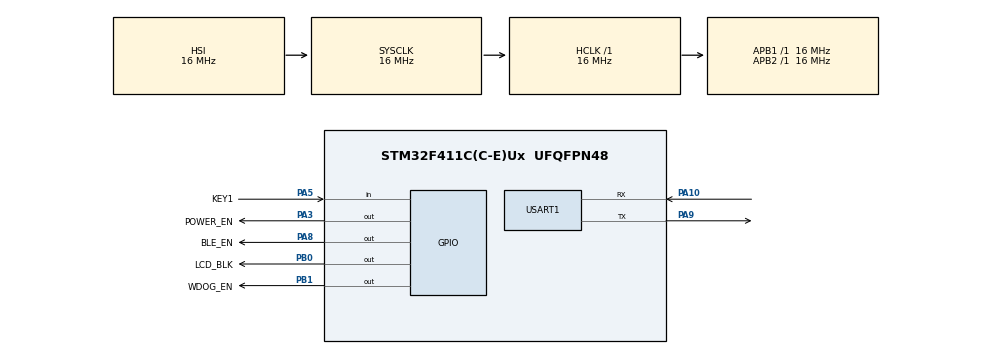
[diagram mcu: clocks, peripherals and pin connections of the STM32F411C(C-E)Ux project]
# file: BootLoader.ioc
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Mcu.Family=STM32F4
Mcu.Name=STM32F411C(C-E)Ux
Mcu.Package=UFQFPN48
NVIC.PriorityGroup=NVIC_PRIORITYGROUP_4
PA10.Mode=Asynchronous
PA10.Signal=USART1_RX
PA13.Mode=Serial_Wire
PA13.Signal=SYS_JTMS-SWDIO
PA14.Mode=Serial_Wire
PA14.Signal=SYS_JTCK-SWCLK
PA3.GPIO_Label=POWER_EN
PA3.PinState=GPIO_PIN_SET
PA3.Signal=GPIO_Output
PA5.GPIO_Label=KEY1
PA5.GPIO_PuPd=GPIO_PULLUP
PA5.Signal=GPIO_Input
PA8.GPIO_Label=BLE_EN
PA8.Signal=GPIO_Output
PA9.Mode=Asynchronous
PA9.Signal=USART1_TX
PB0.GPIO_Label=LCD_BLK
PB0.Signal=GPIO_Output
PB1.GPIO_Label=WDOG_EN
PB1.GPIO_PuPd=GPIO_PULLUP
PB1.PinState=GPIO_PIN_SET
PB1.Signal=GPIO_Output
ProjectManager.HeapSize=0x200
ProjectManager.StackSize=0x400
ProjectManager.TargetToolchain=MDK-ARM V5.32
RCC.AHBFreq_Value=16000000
RCC.APB1Freq_Value=16000000
RCC.APB2Freq_Value=16000000
RCC.CortexFreq_Value=16000000
RCC.HSE_VALUE=25000000
RCC.HSI_VALUE=16000000
RCC.LSE_VALUE=32768
RCC.SYSCLKFreq_VALUE=16000000
RCC.VCOOutputFreq_Value=192000000
USART1.VirtualMode=VM_ASYNC
board=custom

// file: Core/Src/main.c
/* USER CODE BEGIN Header */
/**
  ******************************************************************************
  * @file           : main.c
  * @brief          : LFC-WATCH Bootloader与YMODEM固件接收入口
  *
  * Flash布局：Bootloader占扇区0~1，固件有效记录占扇区2，APP占扇区3~7。
  * 启动时消费RTC备份域的升级请求，并检查有效记录；无留驻请求且记录有效
  * 才尝试进入APP，否则留在裸机主循环，通过USART1接收YMODEM固件。
  * 升级顺序：旧记录失效 -> 擦除APP -> 分包写入 -> 整文件读回CRC ->
  * 最后提交记录magic。最终ACK发送成功且串口安静10秒后尝试进入APP。
  * 本程序不启动FreeRTOS或LCD界面，低占空比背光闪烁用于提示留驻状态。
  ******************************************************************************
  * @attention
  *
  * Copyright (c) 2026 STMicroelectronics.
  * All rights reserved.
  *
  * This software is licensed under terms that can be found in the LICENSE file
  * in the root directory of this software component.
  * If no LICENSE file comes with this software, it is provided AS-IS.
  *
  ******************************************************************************
  */
/* USER CODE END Header */
#include "main.h"
#include "usart.h"
#include "gpio.h"

/* USER CODE BEGIN PTD */

/* 保存在预留Flash中的固件有效记录，共5个32位字段。 */
typedef struct
{
  uint32_t magic; // 最后写入的完成标记，擦除态为0xFFFFFFFF
  uint32_t file_size; // 有效文件字节数，不含YMODEM包头和填充
  uint32_t file_crc; // 文件正文CRC16，保存在32位字段的低16位
  uint32_t file_size_inv; // file_size按位取反，用于检查记录一致性
  uint32_t file_crc_inv; // 整个32位file_crc字段的按位取反值
} BootAppRecord_t;

/* USER CODE END PTD */

/* USER CODE BEGIN PD */

#define BOOT_BACKLIGHT_DIM 5U // 周期1000个计数，5对应0.5%占空比

/* Flash分区、固件提交标记与一次性升级请求。 */
#define APP_BASE_ADDR     0x0800C000U // APP向量表和文件正文起点
#define APP_RECORD_ADDR   0x08008000U // 扇区2中的固件有效记录
#define APP_RECORD_MAGIC  0x41505031U // Flash记录提交标记，不是升级请求
#define BOOT_REQUEST_MAGIC 0x4F544131U // RTC->BKP1R中的一次性APP升级请求
#define APP_FLASH_END     0x08080000U // APP分区末端的下一地址，不可写入

/* SRAM_END允许作为向下增长栈的初始栈顶，不是可读写数据地址。 */
#define SRAM_START        0x20000000U
#define SRAM_END          0x20020000U

/* USER CODE END PD */

/* USER CODE BEGIN PV */

/* 启动策略、主循环与串口诊断。裸机主循环负责以下接收状态。 */
static TIM_HandleTypeDef boot_backlight_tim; // 留驻后才初始化的TIM3背光PWM句柄

volatile uint32_t boot_loop_count = 0U; // 主循环运行计数
volatile uint8_t boot_stay_requested = 0U; // 本次启动是否要求留在BootLoader
volatile HAL_StatusTypeDef boot_uart_tx_status = HAL_OK; // 最近一次串口发送结果

uint8_t boot_rx_byte = 0U; // 当前接收到的字节
volatile uint32_t boot_rx_count = 0U; // 主循环收到的首字节/控制字节等数量，不含独立调用收到的包体
volatile HAL_StatusTypeDef boot_uart_rx_status = HAL_OK; // 最近一次串口接收结果

uint32_t boot_blink_tick = 0U; // 最近一次切换背光的时刻
uint32_t boot_status_tick = 0U; // 最近一次周期请求C的时刻

/* 整包缓存、校验与包号诊断；累计计数在取消会话时保留。 */
static uint8_t boot_packet_buffer[1029]; // 容纳最大的 1024 字节数据包及包头、CRC

volatile uint32_t boot_packet_length = 0U; // 当前完整包长：133或1029字节
volatile uint32_t boot_packet_ok_count = 0U; // 新文件信息包和新数据包的接受次数
volatile uint32_t boot_packet_bad_count = 0U; // 整包格式或CRC检查失败次数
volatile uint32_t boot_packet_incomplete_count = 0U; // 包体未完整收到的次数
volatile HAL_StatusTypeDef boot_packet_rx_status = HAL_OK; // 最近一次阻塞接收包体的结果

volatile uint8_t boot_expected_packet = 0U; // 当前期待的新包号
volatile uint8_t boot_has_last_packet = 0U; // 是否已经接受过一包
volatile uint32_t boot_packet_duplicate_count = 0U; // 上一包的重传次数
volatile uint32_t boot_packet_sequence_error_count = 0U; // 非预期包号次数

/* 本轮文件信息与有效正文进度，Boot_ResetReception()负责清空。 */
volatile uint8_t boot_file_info_received = 0U; // 是否已接受真实文件信息包
volatile uint8_t boot_data_started = 0U; // 是否已接受至少一个文件数据包
volatile uint32_t boot_file_info_error_count = 0U; // 文件信息解析失败次数

static char boot_file_name[64]; // 最多保存 63 个文件名字符，最后留给结束符
volatile uint32_t boot_file_size = 0U; // 解析出的文件长度，单位：字节
volatile uint8_t boot_file_info_result = 0U; // 1：解析成功，0：拒绝

volatile uint32_t boot_file_received_size = 0U; // 已接受的有效文件字节数
volatile uint32_t boot_last_data_size = 0U; // 最近一个新数据包的有效字节数
volatile uint16_t boot_file_crc = 0U; // 已接受的有效文件正文累计CRC，不含尾包填充

/* Flash结果与诊断；会话取消不清除这些历史结果。 */
volatile uint32_t boot_flash_sector_error = 0xFFFFFFFFU; // 擦除失败的扇区号
volatile HAL_StatusTypeDef boot_flash_status = HAL_OK; // 最近一次Flash操作结果
volatile uint32_t boot_flash_error_count = 0U; // 累计Flash操作或整文件读回失败次数
volatile uint16_t boot_flash_read_crc = 0U; // 从Flash读回整份文件后计算的CRC
volatile uint8_t boot_app_record_valid = 0U; // 记录和APP正文检查是否通过
volatile uint32_t boot_flash_write_with_error_addr = 0xFFFFFFFFU; // 编程或读回检查失败的地址
volatile uint32_t boot_packet_extra_count = 0U; // 文件收齐后仍发送新数据包的次数

/* 结束握手与自动交接；文件收齐不等于已经提交有效记录。 */
volatile uint8_t boot_eot_seen = 0U; // 收齐文件后，是否已收到第一次 EOT
volatile uint8_t boot_wait_end_packet = 0U; // EOT 握手完成，等待最终空文件名包

volatile uint8_t boot_transfer_complete = 0U; // 正文校验及有效记录提交通过，入口合理性仍由跳转函数检查
volatile uint8_t boot_auto_jump_pending = 0U; // 最终ACK已发出，等待自动进入APP

/* 包外取消序列与会话活动时间。 */
static uint8_t boot_can_pending = 0U; // 上一个包外字节是否为CAN
volatile uint32_t boot_cancel_count = 0U; // 累计取消次数

static uint32_t boot_last_activity_tick = 0U; // 最近一次串口活动的时间戳
volatile uint32_t boot_session_timeout_count = 0U; // 累计接收超时次数

/* USER CODE END PV */

void SystemClock_Config(void);
/* USER CODE BEGIN PFP */

/* 清空本轮协议状态，保留Flash内容与累计诊断计数。 */
static void Boot_ResetReception(void);
/* Flash链路失败时发出CAN CAN，并回到等待文件信息的状态。 */
static void Boot_AbortFlashTransfer(void);

/* USER CODE END PFP */

/* USER CODE BEGIN 0 */

/*
 * PB0切换为TIM3_CH3，由硬件输出背光PWM。
 * 当前Bootloader定时器时钟为16MHz，分频后1MHz，PWM频率1kHz。
 * 初始占空比为0，后续由主循环切换暗光和熄灭。
 */
static void Boot_BacklightInit(void)
{
  TIM_OC_InitTypeDef channel = {0};
  GPIO_InitTypeDef gpio = {0};

  __HAL_RCC_GPIOB_CLK_ENABLE();
  __HAL_RCC_TIM3_CLK_ENABLE();

  /* 清除定时器旧状态，确保从已知配置开始 */
  __HAL_RCC_TIM3_FORCE_RESET();
  __HAL_RCC_TIM3_RELEASE_RESET();

  boot_backlight_tim.Instance = TIM3;
  boot_backlight_tim.Init.Prescaler = 15U; // 16MHz/16=1MHz
  boot_backlight_tim.Init.CounterMode = TIM_COUNTERMODE_UP;
  boot_backlight_tim.Init.Period = 999U; // 1MHz/1000=1kHz
  boot_backlight_tim.Init.ClockDivision = TIM_CLOCKDIVISION_DIV1;
  boot_backlight_tim.Init.AutoReloadPreload = TIM_AUTORELOAD_PRELOAD_DISABLE;

  if(HAL_TIM_PWM_Init(&boot_backlight_tim) != HAL_OK)
  {
    Error_Handler();
  }

  channel.OCMode = TIM_OCMODE_PWM1;
  channel.Pulse = 0U; // 初始占空比0
  channel.OCPolarity = TIM_OCPOLARITY_HIGH;
  channel.OCFastMode = TIM_OCFAST_DISABLE;

  if(HAL_TIM_PWM_ConfigChannel(&boot_backlight_tim, &channel, TIM_CHANNEL_3) != HAL_OK)
  {
    Error_Handler();
  }

  gpio.Pin = LCD_BLK_Pin;
  gpio.Mode = GPIO_MODE_AF_PP;
  gpio.Pull = GPIO_NOPULL;
  gpio.Speed = GPIO_SPEED_FREQ_LOW;
  gpio.Alternate = GPIO_AF2_TIM3;
  HAL_GPIO_Init(LCD_BLK_GPIO_Port, &gpio);

  if(HAL_TIM_PWM_Start(&boot_backlight_tim, TIM_CHANNEL_3) != HAL_OK)
  {
    Error_Handler();
  }
}

/*
 * 将 RAM 中的一段有效正文写入 APP 区，目标区域必须已擦除。
 * 采用逐字节编程，能够直接处理最后一包不足4字节的情况。
 * 每写一个字节就读回检查；中途失败可能已经写入部分数据。
 * 本函数不擦除Flash，不修改接收计数，也不发送ACK。
 */
static HAL_StatusTypeDef Boot_FlashWrite(uint32_t address, const uint8_t *data, uint32_t length)
{
  HAL_StatusTypeDef status;
  HAL_StatusTypeDef lock_status;
  uint32_t i;

  boot_flash_write_with_error_addr = 0xFFFFFFFFU;

  if(data == NULL || length == 0U)
  {
    return HAL_ERROR; // 数据指针为空或长度为0
  }

  /* 先确认起始地址合法，再用剩余容量检查长度。 */
  if((address < APP_BASE_ADDR) || (address >= APP_FLASH_END))
  {
    return HAL_ERROR; // 起始地址不在APP区
  }

  if(length > (APP_FLASH_END - address))
  {
    return HAL_ERROR; // 长度超出APP区剩余容量
  }

  status = HAL_FLASH_Unlock();
  if(status != HAL_OK)
  {
    return status;
  }

  for(i = 0U; i < length; i++)
  {
    status = HAL_FLASH_Program(FLASH_TYPEPROGRAM_BYTE, address + i, data[i]);
    if(status != HAL_OK)
    {
      boot_flash_write_with_error_addr = address + i;
      break;
    }
    /* 从目标地址读回，检查实际保存的字节。 */
    if(*(volatile const uint8_t *)(address + i ) != data[i])
    {
      boot_flash_write_with_error_addr = address + i;
      status = HAL_ERROR;
      break;
    }
  }

  /* 失败时也经过这里，重新锁定Flash。 */
  lock_status = HAL_FLASH_Lock();

  if(status != HAL_OK)
  {
    return status;
  }

  return lock_status;

}

/*
 * 擦除整个 APP 区：扇区3～7，保留 Bootloader 和扇区2。
 * 调用后旧 APP 会被删除；只应在正式启动升级时执行一次。
 * VoltageRange 按 MCU 的3.3V供电选择，不是按电池电压选择。
 */
static HAL_StatusTypeDef Boot_FlashEraseApp(void)
{
  FLASH_EraseInitTypeDef erase = {0};
  HAL_StatusTypeDef status;
  HAL_StatusTypeDef lock_status;
  uint32_t sector_error = 0xFFFFFFFFU;

  boot_flash_sector_error = 0xFFFFFFFFU;

  status = HAL_FLASH_Unlock();
  if(status != HAL_OK)
  {
    return status;
  }

  erase.TypeErase = FLASH_TYPEERASE_SECTORS;
  erase.Sector = FLASH_SECTOR_3;
  erase.NbSectors = 5U; // 扇区3～7
  erase.VoltageRange = FLASH_VOLTAGE_RANGE_3;

  status = HAL_FLASHEx_Erase(&erase, &sector_error);
  boot_flash_sector_error = sector_error;

  /* 擦除成功或失败，都重新锁定Flash控制寄存器 */
  lock_status = HAL_FLASH_Lock();

  if(status != HAL_OK)
  {
    return status;
  }

  return lock_status;
}

/*
 * 升级开始前，先擦除存放有效记录的扇区2。
 * 只有记录擦除成功，调用方才允许继续擦除APP。
 */
static HAL_StatusTypeDef Boot_EraseAppRecord(void)
{
  FLASH_EraseInitTypeDef erase = {0};
  HAL_StatusTypeDef status;
  HAL_StatusTypeDef lock_status;
  uint32_t sector_error = 0xFFFFFFFFU;
  uint32_t i;

  boot_app_record_valid = 0U;
  boot_flash_sector_error = 0xFFFFFFFFU;

  status = HAL_FLASH_Unlock();
  if(status != HAL_OK)
  {
    return status;
  }

  erase.TypeErase = FLASH_TYPEERASE_SECTORS;
  erase.Sector = FLASH_SECTOR_2;
  erase.NbSectors = 1U; // 扇区2
  erase.VoltageRange = FLASH_VOLTAGE_RANGE_3;

  status = HAL_FLASHEx_Erase(&erase, &sector_error);
  boot_flash_sector_error = sector_error;

  if(status == HAL_OK)
  {
    /* 检查记录占用的20字节确实恢复成空白 */
    for(i = 0U; i < 5U; i++)
    {
      if(*(volatile const uint32_t *)(APP_RECORD_ADDR + i * 4U) != 0xFFFFFFFFU)
      {
        boot_flash_sector_error = FLASH_SECTOR_2;
        status = HAL_ERROR; // 记录擦除后读回仍非全1
        break;
      }
    }
  }

  lock_status = HAL_FLASH_Lock();

  if(status != HAL_OK)
  {
    return status;
  }

  return lock_status;
}

/*
 * 调用前必须已擦除记录，并完成APP正文写入和校验。
 * 先写4个信息字段，再最后写magic，作为本次提交的完成标记。
 * 不使用Boot_FlashWrite，因为该函数只允许写APP正文区。
 * 返回HAL_OK才表示本次提交和重新上锁均成功；失败由调用方取消会话。
 */
static HAL_StatusTypeDef Boot_WriteAppRecord(uint32_t file_size, uint16_t file_crc)
{
  HAL_StatusTypeDef status;
  HAL_StatusTypeDef lock_status;

  /* magic单独提交，这里只暂存其后的四个记录字段。 */
  uint32_t fields[4];
  uint32_t address;
  uint32_t i;

  boot_flash_write_with_error_addr = 0xFFFFFFFFU;

  if((file_size < 8U) || (file_size > (APP_FLASH_END - APP_BASE_ADDR)))
  {
    return HAL_ERROR; // 文件长度不合理
  }

  /* 必须在空白上提交，不能覆盖已有的记录 */
  for(i = 0U; i < 5U; i++)
  {
    address = APP_RECORD_ADDR + i * 4U;
    if(*(volatile const uint32_t *)address != 0xFFFFFFFFU)
    {
      boot_flash_write_with_error_addr = address;
      return HAL_ERROR; // 记录区域非空
    }
  }

  fields[0] = file_size;
  fields[1] = (uint32_t)file_crc;
  fields[2] = ~file_size;
  fields[3] = ~((uint32_t)file_crc);

  status = HAL_FLASH_Unlock();
  if(status != HAL_OK)
  {
    return status;
  }

  /* 跳过偏移0处的magic，先写偏移4~16处的信息字段 */
  for(i = 0U; i < 4U; i++)
  {
    address = APP_RECORD_ADDR + 4U + i * 4U;
    status = HAL_FLASH_Program(FLASH_TYPEPROGRAM_WORD, address, fields[i]);

    if(status != HAL_OK)
    {
      boot_flash_write_with_error_addr = address;
      break;
    }

    if(*(volatile const uint32_t *)address != fields[i])
    {
      boot_flash_write_with_error_addr = address;
      status = HAL_ERROR;
      break;
    }
  }

  /*
   * 信息字段全部写好并读回正确后才提交magic。上面的break只离开for；
   * status失败时跳过提交，但仍执行后面的HAL_FLASH_Lock统一收尾。
   */
  if(status == HAL_OK)
  {
    status = HAL_FLASH_Program(FLASH_TYPEPROGRAM_WORD, APP_RECORD_ADDR, APP_RECORD_MAGIC);

    if(status != HAL_OK)
    {
      boot_flash_write_with_error_addr = APP_RECORD_ADDR;
    }
    else if(*(volatile const uint32_t *)APP_RECORD_ADDR != APP_RECORD_MAGIC)
    {
      boot_flash_write_with_error_addr = APP_RECORD_ADDR;
      status = HAL_ERROR;
    }
  }

  lock_status = HAL_FLASH_Lock();

  if(status != HAL_OK)
  {
    return status;
  }

  return lock_status;

}

/*
 * 从传入的 crc 状态继续处理这一段数据。
 * 第一次传 0，后续传入上一次返回的结果，即可分段计算整份文件。
 */
static uint16_t Boot_CRC16Update(uint16_t crc, const uint8_t *data, uint32_t length)
{
  uint32_t i;
  uint8_t bit;

  for(i = 0U; i < length; i++)
  {
    crc ^= (uint16_t)((uint16_t)data[i] << 8);

    for(bit = 0U; bit < 8U; bit++)
    {
      if((crc & 0x8000U) != 0U)
      {
        crc = (uint16_t)((crc << 1) ^ 0x1021U);
      }
      else
      {
        crc = (uint16_t)(crc << 1);
      }
    }
  }

  return crc;
}

/* CRC16/XMODEM初值为0；单包计算覆盖完整数据区，包括尾包填充。 */
static uint16_t Boot_CRC16(const uint8_t *data, uint32_t length)
{
  return Boot_CRC16Update(0U, data, length);
}

/*
 * 检查Flash中的固件记录，再检查记录所描述的APP正文。
 * 本函数只读Flash，不擦除、不写入，也不执行跳转。
 * 先检查长度边界，才能按该长度读取APP并计算CRC。
 */
static uint8_t Boot_CheckAppRecord(void)
{
  const volatile BootAppRecord_t *record = (const volatile BootAppRecord_t *)APP_RECORD_ADDR;
  uint32_t file_size;
  uint32_t file_crc;
  uint16_t actual_crc;

  /* magic未提交时直接拒绝，包括擦除后断电或升级中途取消的情况。 */
  if(record->magic != APP_RECORD_MAGIC)
  {
    return 0U; // 记录魔数不匹配
  }

  file_size = record->file_size;
  file_crc = record->file_crc;

  /* 反码检查记录字段是否一致；后面的正文CRC才检查Flash中的文件内容。 */
  if((file_size ^ record->file_size_inv) != 0xFFFFFFFFU)
  {
    return 0U; // 文件长度校验失败
  }

  if((file_crc ^ record->file_crc_inv) != 0xFFFFFFFFU)
  {
    return 0U; // 文件CRC校验失败
  }

  /* 至少包含初始MSP和复位入口，同时不能超出APP分区 */
  if((file_size < 8U) || (file_size > (APP_FLASH_END - APP_BASE_ADDR)))
  {
    return 0U; // 文件长度不合理
  }

  if(file_crc > 0xFFFFU)
  {
    return 0U; // CRC不可能大于16位
  }

  actual_crc = Boot_CRC16Update(0U, (const uint8_t *)APP_BASE_ADDR, file_size);

  if(actual_crc != (uint16_t)file_crc)
  {
    return 0U; // APP正文CRC不匹配
  }

  return 1U;
}

/*
 * 检查 RAM 中一包完整的 Ymodem 数据。
 * 返回 1：包格式和 CRC 通过；返回 0：检查失败。
 * 此处尚不判断是否为预期包号，也不解析文件信息或写入 Flash。
 */
static uint8_t Boot_CheckPacket(const uint8_t *packet, uint32_t packet_length)
{
  uint32_t data_length;
  uint16_t received_crc;
  uint16_t calculated_crc;

  if((packet == NULL) || (packet_length < 5U))
  {
    return 0U; // 包指针为空或长度不够
  }

  if(packet[0] == 0x01U)
  {
    data_length = 128U;

  }
  else if(packet[0] == 0x02U)
  {
    data_length = 1024U;
  }
  else
  {
    return 0U; // 包头不合法
  }

  /* 3字节包头+数据区+2字节CRC */
  if(packet_length != (data_length + 5U))
  {
    return 0U;
  }

  /* 序号与其按位取反值异或，结果应当为0xFF */
  if((uint8_t)(packet[1] ^ packet[2])!= 0xFFU)
  {
    return 0U;
  }

  /* YMODEM线上CRC高字节在前，按此顺序还原接收到的16位值。 */
  received_crc = (uint16_t)(((uint16_t)packet[data_length + 3U] << 8) | packet[data_length + 4U]);
  calculated_crc = Boot_CRC16(&packet[3], data_length);

  if(received_crc != calculated_crc)
  {
    return 0U; // CRC不匹配
  }

  return 1U; // 包检查通过
}

/*
 * 解析第 0 包的数据区：文件名\0十进制文件长度。
 * 调用前应由外层确认包号和 CRC；本函数只负责文件信息。
 * 拒绝空文件名、过长文件名、非法长度、零长度和超大固件。
 * 返回 1 表示成功，返回 0 时清空输出，避免误用上一次的结果。
 */
static uint8_t Boot_ParseFileInfo(const uint8_t *data, uint32_t length)
{
  /* 文件名边界与扫描位置。 */
  uint32_t name_length = 0U;
  uint32_t index;

  /* 将ASCII十进制长度转换为数值，并限制在APP分区容量内。 */
  uint32_t size = 0U;
  uint32_t digit;
  uint32_t digit_count = 0U;
  const uint32_t max_size = APP_FLASH_END - APP_BASE_ADDR;

  boot_file_name[0] = '\0';
  boot_file_size = 0U;

  if((data == NULL) || (length == 0U))
  {
    return 0U; // 数据指针为空或长度不够
  }

  /* 在数据区边界内寻找文件名结束符 */
  while((name_length < length) && (data[name_length] != '\0'))
  {
    name_length++;
  }

  if((name_length == 0U) || (name_length >= length) || (name_length >= sizeof(boot_file_name)))
  {
    return 0U; // 空文件名、过长文件名或未找到结束符
  }

  index = name_length + 1U; // 跳过文件名和结束符，指向文件长度字符串

  /* 文件长度后可接结束符，或空格分隔的可选信息 */
  while((index < length) && (data[index] != '\0') && (data[index] != ' '))
  {
    if((data[index] < '0') || (data[index] > '9'))
    {
      return 0U; // 非法字符
    }

    digit = (uint32_t)(data[index] - '0');

    /* 先判断再乘加，既限制固件大小，也避免整数溢出 */
    if(size > (max_size - digit) / 10U)
    {
      return 0U; // 超大固件
    }

    size = size * 10U + digit;
    digit_count++;
    index++;
  }

  if((index >= length) || (digit_count == 0U) || (size == 0U))
  {
    return 0U; // 非法长度或零长度
  }

  /* 所有检查通过后，才保存有效结果 */
  for(index = 0U; index < name_length; index++)
  {
    boot_file_name[index] = (char)data[index];
  }
  boot_file_name[name_length] = '\0';
  boot_file_size = size;

  return 1U; // 解析成功
}

/*
 * 处理包外的 EOT 控制字节。
 * 文件未收齐时拒绝结束；收齐后采用两次 EOT 握手。
 * 文件收齐时有效正文已写入Flash，整文件读回校验和记录提交仍要等最终空包。
 */
static void Boot_HandleEOT(void)
{
  uint8_t response;

  /* 已完成提交时再次收到EOT只补ACK，不能退回结束握手或重复写记录。 */
  if(boot_transfer_complete != 0U)
  {
    response = 0x06U;
    boot_uart_tx_status = HAL_UART_Transmit(&huart1, &response, 1U, 100U);
    return;
  }

  if((boot_file_info_received == 0U) || (boot_file_received_size != boot_file_size))
  {
    response = 0x15U; // NAK
    boot_uart_tx_status = HAL_UART_Transmit(&huart1, &response, 1U, 100U);
    return;
  }

  if(boot_eot_seen == 0U)
  {
    boot_eot_seen = 1U;
    response = 0x15U; // NAK，要求发送第二次 EOT
    boot_uart_tx_status = HAL_UART_Transmit(&huart1, &response, 1U, 100U);
    return;
  }

  /* 第二次EOT完成正文结束握手，仍需接收最终空文件名包。 */
  boot_wait_end_packet = 1U; // 等待最终空文件名包
  response = 0x06U; // ACK，确认结束
  boot_uart_tx_status = HAL_UART_Transmit(&huart1, &response, 1U, 100U);

  if(boot_uart_tx_status == HAL_OK)
  {
    response = 0x43U; // C，要求发送最终空文件名包
    boot_uart_tx_status = HAL_UART_Transmit(&huart1, &response, 1U, 100U);
  }
}

/*
 * 主循环收到SOH/STX后调用：阻塞接收余下包体，最多等待1000ms。
 * 先检查完整包的格式和CRC，再按结束空包、首次文件信息、新数据、上一包
 * 重传的顺序处理。结束包和文件信息包都使用包号0，必须先看会话状态。
 * 新文件信息通过后先擦记录再擦APP；新数据写入并逐字节读回成功后，才
 * 累加有效长度、更新文件CRC和期望包号并ACK。重复包只补应答，不重复写。
 * 最终空包触发整文件读回校验及记录提交；Flash链路失败发送CAN CAN，
 * 重置协议等待新会话。普通坏包NAK后保留当前进度，等待发送端重传。
 */
static void Boot_ReceivePacketBody(uint8_t first_byte)
{
  /* 当前包的接收长度与应答控制。 */
  uint16_t remaining_length; // 除去主循环已经收到的SOH/STX
  uint8_t response;
  uint8_t request_data = 0U; // 本次ACK后是否需要再发送C

  /* 数据区容量与本包实际需要保存的文件长度。 */
  uint32_t data_length; // 128或1024，包含最后一包的填充
  uint32_t remaining_size; // 文件还缺多少字节
  uint32_t valid_size; // min(data_length, remaining_size)，只保存这一段

  if(first_byte == 0x01U)
  {
    boot_packet_length = 133U; // 1+1+1+128+2
  }
  else if(first_byte == 0x02U)
  {
    boot_packet_length = 1029U; // 1+1+1+1024+2
  }
  else
  {
    return; // 非法包头，直接返回
  }

  boot_packet_buffer[0] = first_byte; // 保存包头
  remaining_length = (uint16_t)(boot_packet_length - 1U);

  boot_packet_rx_status = HAL_UART_Receive(&huart1, &boot_packet_buffer[1], remaining_length, 1000U);

  /* 包体未收齐时不解析缓存中的残留内容，也不推进文件进度。 */
  if(boot_packet_rx_status != HAL_OK)
  {
    boot_packet_incomplete_count++;

    response = 0x15U; // NAK
    boot_uart_tx_status = HAL_UART_Transmit(&huart1, &response, 1U, 100U);

    return;
  }

  if(Boot_CheckPacket(boot_packet_buffer, boot_packet_length) == 0U)
  {
    boot_packet_bad_count++;
    response = 0x15U; // NAK
  }
  else if((boot_wait_end_packet != 0U) || (boot_transfer_complete != 0U))
  {
    /*
     * 结束阶段优先处理包号0且文件名为空的包，不能误当作新文件开始。
     * 已提交时只补ACK，避免最终ACK丢失后重复写记录。
     */
    if((boot_packet_buffer[1] == 0U) && (boot_packet_buffer[3] == 0U))
    {
      if(boot_transfer_complete == 0U)
      {

        /* 只读取有效文件长度，不包含最后一包的填充 */
        boot_flash_read_crc = Boot_CRC16((const uint8_t *)APP_BASE_ADDR, boot_file_received_size);

        if(boot_flash_read_crc != boot_file_crc)
        {
          boot_flash_status = HAL_ERROR; // 读回CRC不匹配
          Boot_AbortFlashTransfer();
          return;
        }

        /* APP读回CRC已通过，现在提交有效记录 */
        boot_flash_status = Boot_WriteAppRecord(boot_file_received_size, boot_file_crc);

        if(boot_flash_status != HAL_OK)
        {
          Boot_AbortFlashTransfer();
          return;
        }

        /* 按启动时相同的规则，再检查一次记录与APP正文 */
        boot_app_record_valid = Boot_CheckAppRecord();

        if(boot_app_record_valid == 0U)
        {
          boot_flash_status = HAL_ERROR; // 记录或正文检查失败
          Boot_AbortFlashTransfer();
          return;
        }

        boot_transfer_complete = 1U;
        boot_wait_end_packet = 0U;
      }
      else
      {
        boot_packet_duplicate_count++;
      }

      response = 0x06U; // ACK
    }
    else
    {
      response = 0x15U; // NAK
    }
  }
  else if(boot_file_info_received == 0U)
  {
    /* 文件信息尚未接受时，只允许第0包进入解析 */
    if(boot_packet_buffer[1] != 0U)
    {
      boot_packet_sequence_error_count++;
      response = 0x15U; // NAK
    }
    else
    {
      boot_file_info_result = Boot_ParseFileInfo(&boot_packet_buffer[3], boot_packet_length - 5U);

      if(boot_file_info_result != 0U)
      {
        /* 仅接受新文件信息时擦除，重复第0包不会进入这里。 */
        boot_flash_read_crc = 0U;
        boot_flash_write_with_error_addr = 0xFFFFFFFFU;

        /* 先使旧记录失效，成功后才能破坏旧APP。 */
        boot_flash_status = Boot_EraseAppRecord();
        if(boot_flash_status != HAL_OK)
        {
          Boot_AbortFlashTransfer();
          return;
        }

        boot_flash_status = Boot_FlashEraseApp();

        if(boot_flash_status != HAL_OK)
        {
          Boot_AbortFlashTransfer();
          return;
        }

        boot_file_info_received = 1U;
        boot_transfer_complete = 0U; // 接收新文件信息时，清除上一轮完成的状态。
        boot_eot_seen = 0U; // 新文件开始，清除 EOT 标志
        boot_wait_end_packet = 0U; // 新文件开始，清除等待结束包标志
        boot_file_received_size = 0U;
        boot_last_data_size = 0U;
        boot_file_crc = 0U;
        boot_has_last_packet = 1U;
        boot_expected_packet = 1U; // 下一个包号应为1
        boot_packet_ok_count++;
        response = 0x06U; // ACK
        request_data = 1U; // ACK后再发送 C
      }
      else
      {
        boot_file_info_error_count++;
        response = 0x15U; // NAK
      }
    }
  }
  /* 已收到文件信息后按期望包号接收正文；8位包号回绕到0也仍是数据包。 */
  else if(boot_packet_buffer[1] == boot_expected_packet)
  {
    /* 声明长度已收满，接下来应等待EOT，不能把额外新包继续写到文件末尾。 */
    if(boot_file_received_size >= boot_file_size)
    {
      boot_packet_extra_count++;
      response = 0x15U;
    }
    else
    {
      data_length = boot_packet_length - 5U; // 数据区长度
      remaining_size = boot_file_size - boot_file_received_size;
      valid_size = data_length;

      if(valid_size > remaining_size)
      {
        valid_size = remaining_size; // 最后一包只取文件剩余的有效字节
      }

      /*
       * 使用更新前的累计长度定位写入地址。尾包超出valid_size的填充已经
       * 参与包CRC检查，但不会写入Flash，也不会计入文件长度或文件CRC。
       */
      boot_flash_status = Boot_FlashWrite(APP_BASE_ADDR + boot_file_received_size, &boot_packet_buffer[3], valid_size);

      if(boot_flash_status != HAL_OK)
      {
        Boot_AbortFlashTransfer();
        return;
      }

      /* 写入成功才提交本包进度；若ACK丢失，重传会进入重复包分支。 */
      boot_file_crc = Boot_CRC16Update(boot_file_crc, &boot_packet_buffer[3], valid_size);
      boot_last_data_size = valid_size;
      boot_file_received_size += valid_size;

      boot_packet_ok_count++;
      boot_data_started = 1U;
      boot_has_last_packet = 1U;
      boot_expected_packet = (uint8_t)(boot_expected_packet + 1U);
      response = 0x06U; // ACK
    }
  }
  else if((boot_has_last_packet != 0U) && (boot_packet_buffer[1] == (uint8_t)(boot_expected_packet - 1U)))
  {
    /* 上一包可能因ACK丢失而重传；只补ACK，不推进长度、CRC、包号或Flash地址。 */
    boot_packet_duplicate_count++;
    response = 0x06U; // ACK

    /* 第1个数据包尚未接受:第0包重传时，重新回复ACK和C */
    if(boot_data_started == 0U)
    {
      request_data = 1U; // ACK后再发送 C
    }
  }
  else
  {
    boot_packet_sequence_error_count++;
    response = 0x15U; // NAK
  }

  /* 业务处理成功后才ACK；数据包此时已写入，最终空包此时已提交记录。 */
  boot_uart_tx_status = HAL_UART_Transmit(&huart1, &response, 1U, 100U);

  if((boot_transfer_complete != 0U) && (response == 0x06U) && (boot_uart_tx_status == HAL_OK))
  {
    boot_auto_jump_pending = 1U; // ACK后等待自动进入APP
    boot_last_activity_tick = HAL_GetTick(); // 重新记录自动跳转等待的起点
  }

  if((boot_uart_tx_status == HAL_OK) && (request_data != 0U))
  {
    response = 0x43U; // C
    boot_uart_tx_status = HAL_UART_Transmit(&huart1, &response, 1U, 100U);
  }
}

/*
 * 放弃本轮接收，重新等待第 0 包。
 * 只复位接收状态，不复位单片机，也不操作 Flash。
 * 累计成功、错误和取消次数保留，便于观察调试历史。
 * 不恢复旧固件、不补写有效记录；启动检查仍以Flash中的真实记录为准。
 */
static void Boot_ResetReception(void)
{
  boot_file_info_received = 0U;
  boot_file_info_result = 0U;
  boot_file_name[0] = '\0';
  boot_file_size = 0U;

  boot_file_received_size = 0U;
  boot_last_data_size = 0U;
  boot_file_crc = 0U;
  boot_data_started = 0U;

  boot_expected_packet = 0U;
  boot_has_last_packet = 0U;
  boot_packet_length = 0U;

  boot_eot_seen = 0U;
  boot_wait_end_packet = 0U;
  boot_transfer_complete = 0U;
  boot_auto_jump_pending = 0U;

  boot_can_pending = 0U;
  boot_status_tick = HAL_GetTick(); // 约一秒后重新发送 C
}

/*
 * Flash操作失败后取消本轮传输。
 * 保留Flash错误诊断，清理协议状态，等待发送端重新开始。
 */
static void Boot_AbortFlashTransfer(void)
{
  uint8_t cancel_message[2] = {0x18U, 0x18U}; // 连续两个 CAN

  boot_flash_error_count++;
  boot_uart_tx_status = HAL_UART_Transmit(&huart1, cancel_message, sizeof(cancel_message), 100U);
  Boot_ResetReception(); // 复位本轮接收状态
}

/*
 * 文件信息已接受，但整轮传输尚未完成时，检查接收活动间隔。
 * 串口无活动达到15秒则发送CAN CAN并重置会话；这不是整文件传输限时。
 */
static void Boot_CheckReceiveTimeout(void)
{
  uint8_t cancel_message[2] = {0x18U, 0x18U}; // 连续两个 CAN

  if((boot_file_info_received == 0U) || (boot_transfer_complete != 0U))
  {
    return; // 未开始接收或已完成传输，不检查超时
  }

  if((uint32_t)(HAL_GetTick() - boot_last_activity_tick) < 15000U)
  {
    return;
  }

  boot_session_timeout_count++;

  boot_uart_tx_status = HAL_UART_Transmit(&huart1, cancel_message, sizeof(cancel_message), 100U);
  Boot_ResetReception(); // 复位本轮接收状态
}

/*
 * 等待文件信息时发送字符 C，请求发送端使用 CRC 方式传输。
 * 只发送一个字节 0x43，不附加换行。
 */
static void Boot_RequestFile(void)
{
  uint8_t request = 0x43U;

  boot_uart_tx_status = HAL_UART_Transmit(&huart1, &request, 1U, 100U);
}

/*
 * ARMCC 5 汇编函数：r0 接收 APP 栈顶，r1 接收 APP 复位入口。
 * 更换 MSP 后直接跳转，避免继续执行依赖 BootLoader 旧栈的 C 代码。
 */
__asm void Boot_EnterApp(uint32_t app_sp, uint32_t app_reset)
{
    MSR MSP, r0
    CPSIE I
    BX r1
}

/*
 * main()在线程模式下调用，调用方已确认Flash记录和正文CRC有效。
 * 正常启动和升级完成后的自动跳转共用此入口；向量值不合理时返回并留驻。
 * 停止已启用的PWM和UART，屏蔽并清理中断，保留供电GPIO，切换VTOR后
 * 由汇编设置APP初始MSP并进入Reset_Handler，继续SystemInit和C运行环境
 * 初始化。这里不是直接调用APP的main()，也不执行整机硬件复位。
 */
static void Boot_JumpToAPP(void)
{
  /* 向量表检查通过前不拆除Bootloader的运行环境。 */
  uint32_t app_sp = *(volatile uint32_t *)APP_BASE_ADDR; // APP 栈顶
  uint32_t app_reset = *(volatile uint32_t *)(APP_BASE_ADDR + 4U); // APP 复位入口
  uint32_t app_entry = app_reset & ~1U; // 清除 Thumb 位，得到实际入口地址

  /* 交接时清理NVIC，并把背光引脚恢复为普通输出。 */
  uint32_t i;
  GPIO_InitTypeDef gpio = {0};

  /* 栈顶必须位于SRAM的有效范围内，并满足8字节对齐要求 */
  if((app_sp <= SRAM_START) || (app_sp > SRAM_END) || (app_sp & 7U) != 0U)
  {
    return; // 栈顶不合理，返回
  }

  /* Cortex-M入口最低位必须为1表示Thumb状态，实际指令地址必须在APP分区内。 */
  if(((app_reset & 1U) == 0U) || (app_entry < APP_BASE_ADDR) || (app_entry >= APP_FLASH_END))
  {
    return; // 入口不合理，返回
  }

  /* 升级后跳转时PWM已启动；正常开机直接跳转时则未启动 */
  if(boot_backlight_tim.Instance == TIM3)
  {
    HAL_TIM_PWM_Stop(&boot_backlight_tim, TIM_CHANNEL_3);
    __HAL_RCC_TIM3_FORCE_RESET();
    __HAL_RCC_TIM3_RELEASE_RESET();
    __HAL_RCC_TIM3_CLK_DISABLE();
  }

  /* 先准备低电平，再把PB0从定时器复用切回普通输出 */
  HAL_GPIO_WritePin(LCD_BLK_GPIO_Port, LCD_BLK_Pin, GPIO_PIN_RESET);

  gpio.Pin = LCD_BLK_Pin;
  gpio.Mode = GPIO_MODE_OUTPUT_PP;
  gpio.Pull = GPIO_NOPULL;
  gpio.Speed = GPIO_SPEED_FREQ_LOW;
  HAL_GPIO_Init(LCD_BLK_GPIO_Port, &gpio);

  /* 入口检查通过后，再释放BootLoader使用的串口 */
  HAL_UART_DeInit(&huart1);

  /* 清理期间先屏蔽普通中断，避免跳转被打断 */
  __disable_irq();

  /* 停止BootLoader的SysTick，清除其计数状态 */
  SysTick->CTRL = 0U;
  SysTick->LOAD = 0U;
  SysTick->VAL = 0U;

  /* STM32F411的外部中断编号覆盖三个32位寄存器组 */
  for(i = 0U; i < 3U; i++)
  {
    NVIC->ICER[i] = 0xFFFFFFFFU; // 屏蔽该组外部IRQ
    NVIC->ICPR[i] = 0xFFFFFFFFU; // 清除该组外部IRQ挂起标志
  }

  /* SysTick PendSV 属于内核异常，要另外清除挂起状态 */
  SCB->ICSR = SCB_ICSR_PENDSTCLR_Msk | SCB_ICSR_PENDSVCLR_Msk;

  /* 保持当前HSI时钟和供电GPIO，由APP接着初始化 */
  SCB->VTOR = APP_BASE_ADDR; // 设置中断向量表偏移地址
  __DSB(); // 确保VTOR写入完成
  __ISB(); // 让后续指令在更新后的系统配置下执行

  Boot_EnterApp(app_sp, app_reset); // 汇编函数，切换栈顶并跳转

}

/* USER CODE END 0 */

int main(void)
{

  /* USER CODE BEGIN 1 */

  /* APP软件交接会保留时钟，先按寄存器更新频率，再让HAL_Init配置正确时基。 */
  SystemCoreClockUpdate(); // 随后的SystemClock_Config再切换到Bootloader所用HSI

  /* USER CODE END 1 */

  /* MCU Configuration--------------------------------------------------------*/

  /* Reset of all peripherals, Initializes the Flash interface and the Systick. */
  HAL_Init();

  /* Configure the system clock */
  SystemClock_Config();

  /* Initialize all configured peripherals */
  MX_GPIO_Init();
  MX_USART1_UART_Init();
  /* USER CODE BEGIN 2 */

  /* 启动时清空文件信息，等待真实的YMODEM文件信息包 */
  boot_file_name[0] = '\0';
  boot_file_size = 0U;
  boot_file_info_result = 0U;

  /*
   * BKP1R只传递一次性升级请求，与Flash里的APP有效记录无关。
   * 匹配后立即清零并置本次留驻标志；下次启动不会重复消费同一请求。
   */
  __HAL_RCC_PWR_CLK_ENABLE();
  HAL_PWR_EnableBkUpAccess();

  if(RTC->BKP1R == BOOT_REQUEST_MAGIC)
  {
    RTC->BKP1R = 0U;
    boot_stay_requested = 1U;
  }

  HAL_PWR_DisableBkUpAccess();

  boot_app_record_valid = Boot_CheckAppRecord(); // 检查Flash中的固件记录和正文

  HAL_Delay(500U);

  /* KEY1是手动留驻入口；二次采样消抖只会置位，不会覆盖已有的软件请求。 */
  if(HAL_GPIO_ReadPin(KEY1_GPIO_Port, KEY1_Pin) == GPIO_PIN_RESET)
  {
    HAL_Delay(20U);

    if(HAL_GPIO_ReadPin(KEY1_GPIO_Port, KEY1_Pin) == GPIO_PIN_RESET)
    {
      boot_stay_requested = 1U; // 按键按下，要求留在BootLoader
    }
  }

  /* 无软件/按键留驻请求且记录校验通过才尝试启动，否则进入接收主循环。 */
  if((boot_stay_requested == 0U) && (boot_app_record_valid != 0U))
  {
    Boot_JumpToAPP(); // 尝试跳转到APP
  }

  Boot_BacklightInit(); // 初始化背光闪烁

  /* 留驻后重启蓝牙模块，清除上一阶段连接状态；发送端需要重新连接串口。 */
  HAL_GPIO_WritePin(BLE_EN_GPIO_Port, BLE_EN_Pin, GPIO_PIN_RESET);
  HAL_Delay(1000U);

  HAL_GPIO_WritePin(BLE_EN_GPIO_Port, BLE_EN_Pin, GPIO_PIN_SET);
  HAL_Delay(1000U);

  boot_blink_tick = HAL_GetTick();
  boot_status_tick = boot_blink_tick;

  /* USER CODE END 2 */

  /* Infinite loop */
  while (1)
  {

    /* USER CODE BEGIN 3 */
    boot_loop_count++;

    /* 最多等待约1ms，尝试接收一个字节 */
    boot_uart_rx_status = HAL_UART_Receive(&huart1, &boot_rx_byte, 1U, 1U);

    if(boot_uart_rx_status == HAL_OK)
    {
      boot_rx_count++;

      boot_last_activity_tick = HAL_GetTick(); // 记录最近一次串口活动时间

      /* 只在包外识别连续两个CAN；包体中的0x18由整包接收函数当作数据处理。 */
      if(boot_rx_byte == 0x18U)
      {
        if(boot_can_pending != 0U)
        {
          boot_cancel_count++;
          Boot_ResetReception();
        }
        else
        {
          boot_can_pending = 1U; // 先记住第一次CAN
        }
      }
      else
      {
        boot_can_pending = 0U; // 中间出现其他字节，就不是连续两个CAN

        if((boot_rx_byte == 0x01U) || (boot_rx_byte == 0x02U))
        {
          Boot_ReceivePacketBody(boot_rx_byte);
          boot_last_activity_tick = HAL_GetTick(); // 记录最近一次串口活动时间
        }
        else if(boot_rx_byte == 0x04U)
        {
          Boot_HandleEOT();
        }
      }
    }

    /* 包外轮询期间每500ms切换背光；阻塞收包或擦写Flash时，切换可能延后。 */
    if((uint32_t)(HAL_GetTick() - boot_blink_tick) >= 500U)
    {
      boot_blink_tick = HAL_GetTick();
      if(__HAL_TIM_GET_COMPARE(&boot_backlight_tim, TIM_CHANNEL_3) == 0U)
      {
        __HAL_TIM_SET_COMPARE(&boot_backlight_tim, TIM_CHANNEL_3, BOOT_BACKLIGHT_DIM);
      }
      else
      {
        __HAL_TIM_SET_COMPARE(&boot_backlight_tim, TIM_CHANNEL_3, 0U);
      }
    }

    Boot_CheckReceiveTimeout(); // 检查接收超时，必要时取消本轮接收

    /* 最终ACK发出后，串口连续安静10秒，再尝试进入APP；新字节会推迟跳转。 */
    if((boot_auto_jump_pending != 0U) && (boot_transfer_complete != 0U) && (boot_app_record_valid != 0U))
    {
      if((uint32_t)(HAL_GetTick() - boot_last_activity_tick) >= 10000U)
      {
        boot_auto_jump_pending = 0U; // 避免重复跳转
        Boot_JumpToAPP();
      }
    }

    /* 未接受文件信息时每秒发送C；接受第0包后停止周期请求，取消后恢复。 */
    if((boot_file_info_received == 0U) && ((uint32_t)(HAL_GetTick() - boot_status_tick) >= 1000U))
    {
      boot_status_tick = HAL_GetTick();
      Boot_RequestFile();
    }
  }
  /* USER CODE END 3 */
}

void SystemClock_Config(void)
{
  RCC_OscInitTypeDef RCC_OscInitStruct = {0};
  RCC_ClkInitTypeDef RCC_ClkInitStruct = {0};

  /** Configure the main internal regulator output voltage
  */
  __HAL_RCC_PWR_CLK_ENABLE();
  __HAL_PWR_VOLTAGESCALING_CONFIG(PWR_REGULATOR_VOLTAGE_SCALE1);

  /** Initializes the RCC Oscillators according to the specified parameters
  * in the RCC_OscInitTypeDef structure.
  */
  RCC_OscInitStruct.OscillatorType = RCC_OSCILLATORTYPE_HSI;
  RCC_OscInitStruct.HSIState = RCC_HSI_ON;
  RCC_OscInitStruct.HSICalibrationValue = RCC_HSICALIBRATION_DEFAULT;
  RCC_OscInitStruct.PLL.PLLState = RCC_PLL_NONE;
  if (HAL_RCC_OscConfig(&RCC_OscInitStruct) != HAL_OK)
  {
    Error_Handler();
  }

  /** Initializes the CPU, AHB and APB buses clocks
  */
  RCC_ClkInitStruct.ClockType = RCC_CLOCKTYPE_HCLK|RCC_CLOCKTYPE_SYSCLK
                              |RCC_CLOCKTYPE_PCLK1|RCC_CLOCKTYPE_PCLK2;
  RCC_ClkInitStruct.SYSCLKSource = RCC_SYSCLKSOURCE_HSI;
  RCC_ClkInitStruct.AHBCLKDivider = RCC_SYSCLK_DIV1;
  RCC_ClkInitStruct.APB1CLKDivider = RCC_HCLK_DIV1;
  RCC_ClkInitStruct.APB2CLKDivider = RCC_HCLK_DIV1;

  if (HAL_RCC_ClockConfig(&RCC_ClkInitStruct, FLASH_LATENCY_0) != HAL_OK)
  {
    Error_Handler();
  }
}

void Error_Handler(void)
{
  __disable_irq();
  while (1)
  {
  }
}
